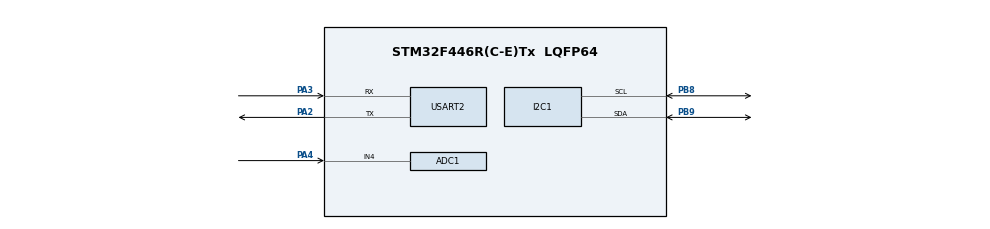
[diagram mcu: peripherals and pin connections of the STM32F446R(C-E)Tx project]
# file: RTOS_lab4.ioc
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ADC1.Channel-1\#ChannelRegularConversion=ADC_CHANNEL_4
ADC1.ContinuousConvMode=DISABLE
ADC1.EOCSelection=ADC_EOC_SEQ_CONV
ADC1.ExternalTrigConv=ADC_EXTERNALTRIGCONV_T2_TRGO
ADC1.InjNumberOfConversion=0
ADC1.NbrOfConversion=1
ADC1.NbrOfConversionFlag=1
ADC1.Rank-1\#ChannelRegularConversion=1
ADC1.SamplingTime-1\#ChannelRegularConversion=ADC_SAMPLETIME_3CYCLES
ADC1.master=1
FREERTOS.Tasks01=defaultTask,-3,400,StartDefaultTask,Default,NULL,Dynamic,NULL,NULL;monitorTask,0,512,StartMonitorTask,Default,NULL,Dynamic,NULL,NULL;read_i2c_sen1,0,400,StartRead_i2c_sen1,Default,NULL,Dynamic,NULL,NULL;read_i2c_sen2,0,400,startRead_i2c_sen2,Default,NULL,Dynamic,NULL,NULL
FREERTOS.configCHECK_FOR_STACK_OVERFLOW=2
FREERTOS.configENABLE_FPU=1
FREERTOS.configGENERATE_RUN_TIME_STATS=1
FREERTOS.configRECORD_STACK_HIGH_ADDRESS=1
FREERTOS.configUSE_NEWLIB_REENTRANT=1
FREERTOS.configUSE_STATS_FORMATTING_FUNCTIONS=1
FREERTOS.configUSE_TIMERS=0
FREERTOS.configUSE_TRACE_FACILITY=1
Mcu.Family=STM32F4
Mcu.Name=STM32F446R(C-E)Tx
Mcu.Package=LQFP64
NVIC.ADC_IRQn=true\:5\:0\:false\:false\:true\:true\:true\:true\:true
NVIC.PriorityGroup=NVIC_PRIORITYGROUP_4
NVIC.TIM1_UP_TIM10_IRQn=true\:5\:0\:false\:false\:true\:false\:false\:true\:true
NVIC.TIM2_IRQn=true\:5\:0\:false\:false\:true\:true\:true\:true\:true
NVIC.TimeBase=TIM1_UP_TIM10_IRQn
NVIC.TimeBaseIP=TIM10
PA13.Mode=Serial_Wire
PA13.Signal=SYS_JTMS-SWDIO
PA14.Mode=Serial_Wire
PA14.Signal=SYS_JTCK-SWCLK
PA2.Mode=Asynchronous
PA2.Signal=USART2_TX
PA3.Mode=Asynchronous
PA3.Signal=USART2_RX
PA4.Signal=ADCx_IN4
PB8.Mode=I2C
PB8.Signal=I2C1_SCL
PB9.Mode=I2C
PB9.Signal=I2C1_SDA
PC14-OSC32_IN.Mode=LSE-External-Oscillator
PC14-OSC32_IN.Signal=RCC_OSC32_IN
PC15-OSC32_OUT.Mode=LSE-External-Oscillator
PC15-OSC32_OUT.Signal=RCC_OSC32_OUT
PH0-OSC_IN.Mode=HSE-External-Oscillator
PH0-OSC_IN.Signal=RCC_OSC_IN
PH1-OSC_OUT.Mode=HSE-External-Oscillator
PH1-OSC_OUT.Signal=RCC_OSC_OUT
ProjectManager.HeapSize=0x200
ProjectManager.StackSize=0x400
ProjectManager.TargetToolchain=STM32CubeIDE
RCC.CortexFreq_Value=16000000
RCC.USBFreq_Value=96000000
RCC.VCOOutputFreq_Value=192000000
SH.ADCx_IN4.0=ADC1_IN4,IN4
TIM2.Channel-PWM\ Generation2\ No\ Output=TIM_CHANNEL_2
TIM2.Period=1000
TIM2.Prescaler=16-1
TIM2.TIM_MasterOutputTrigger=TIM_TRGO_UPDATE
USART2.VirtualMode=VM_ASYNC
VP_FREERTOS_VS_CMSIS_V1.Mode=CMSIS_V1
VP_SYS_VS_tim10.Mode=TIM10
VP_TIM2_VS_ClockSourceINT.Mode=Internal
VP_TIM2_VS_no_output2.Mode=PWM Generation2 No Output
board=custom

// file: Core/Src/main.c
/* USER CODE BEGIN Header */
/**
  ******************************************************************************
  * @file           : main.c
  * @brief          : Main program body
  ******************************************************************************
  * @attention
  *
  * Copyright (c) 2023 STMicroelectronics.
  * All rights reserved.
  *
  * This software is licensed under terms that can be found in the LICENSE file
  * in the root directory of this software component.
  * If no LICENSE file comes with this software, it is provided AS-IS.
  *
  ******************************************************************************
  */
/* USER CODE END Header */
#include "main.h"
#include "cmsis_os.h"
#include "adc.h"
#include "i2c.h"
#include "tim.h"
#include "usart.h"
#include "gpio.h"

void SystemClock_Config(void);
void MX_FREERTOS_Init(void);
/* USER CODE BEGIN PFP */

#ifdef __GNUC__
#define PUTCHAR_PROTOTYPE int __io_putchar(int ch)
#else
#define PUTCHAR_PROTOTYPE int fputc(int ch, FILE *f)
#endif

PUTCHAR_PROTOTYPE
{
  HAL_UART_Transmit(&huart2, (uint8_t *)&ch, 1, HAL_MAX_DELAY);
  return ch;
}

/* USER CODE END PFP */

int main(void)
{

  /* MCU Configuration--------------------------------------------------------*/

  /* Reset of all peripherals, Initializes the Flash interface and the Systick. */
  HAL_Init();

  /* Configure the system clock */
  SystemClock_Config();

  /* Initialize all configured peripherals */
  MX_GPIO_Init();
  MX_USART2_UART_Init();
  MX_ADC1_Init();
  MX_TIM2_Init();
  MX_I2C1_Init();

  /* Call init function for freertos objects (in freertos.c) */
  MX_FREERTOS_Init();

  /* Start scheduler */
  osKernelStart();
  /* We should never get here as control is now taken by the scheduler */
  /* Infinite loop */
  while (1)
  {

  }
}

void SystemClock_Config(void)
{
  RCC_OscInitTypeDef RCC_OscInitStruct = {0};
  RCC_ClkInitTypeDef RCC_ClkInitStruct = {0};

  /** Configure the main internal regulator output voltage
  */
  __HAL_RCC_PWR_CLK_ENABLE();
  __HAL_PWR_VOLTAGESCALING_CONFIG(PWR_REGULATOR_VOLTAGE_SCALE3);

  /** Initializes the RCC Oscillators according to the specified parameters
  * in the RCC_OscInitTypeDef structure.
  */
  RCC_OscInitStruct.OscillatorType = RCC_OSCILLATORTYPE_HSI;
  RCC_OscInitStruct.HSIState = RCC_HSI_ON;
  RCC_OscInitStruct.HSICalibrationValue = RCC_HSICALIBRATION_DEFAULT;
  RCC_OscInitStruct.PLL.PLLState = RCC_PLL_NONE;
  if (HAL_RCC_OscConfig(&RCC_OscInitStruct) != HAL_OK)
  {
    Error_Handler();
  }

  /** Initializes the CPU, AHB and APB buses clocks
  */
  RCC_ClkInitStruct.ClockType = RCC_CLOCKTYPE_HCLK|RCC_CLOCKTYPE_SYSCLK
                              |RCC_CLOCKTYPE_PCLK1|RCC_CLOCKTYPE_PCLK2;
  RCC_ClkInitStruct.SYSCLKSource = RCC_SYSCLKSOURCE_HSI;
  RCC_ClkInitStruct.AHBCLKDivider = RCC_SYSCLK_DIV1;
  RCC_ClkInitStruct.APB1CLKDivider = RCC_HCLK_DIV1;
  RCC_ClkInitStruct.APB2CLKDivider = RCC_HCLK_DIV1;

  if (HAL_RCC_ClockConfig(&RCC_ClkInitStruct, FLASH_LATENCY_0) != HAL_OK)
  {
    Error_Handler();
  }
}

void HAL_TIM_PeriodElapsedCallback(TIM_HandleTypeDef *htim)
{
  if (htim->Instance == TIM10) {
    HAL_IncTick();
  }
}

void Error_Handler(void)
{
  __disable_irq();
  while (1)
  {
  }
}

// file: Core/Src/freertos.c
/* USER CODE BEGIN Header */
/**
  ******************************************************************************
  * File Name          : freertos.c
  * Description        : Code for freertos applications
  ******************************************************************************
  * @attention
  *
  * Copyright (c) 2023 STMicroelectronics.
  * All rights reserved.
  *
  * This software is licensed under terms that can be found in the LICENSE file
  * in the root directory of this software component.
  * If no LICENSE file comes with this software, it is provided AS-IS.
  *
  ******************************************************************************
  */
/* USER CODE END Header */

#include "FreeRTOS.h"
#include "task.h"
#include "main.h"
#include "cmsis_os.h"

/* USER CODE BEGIN Includes */
#include <stdlib.h>
#include <stdio.h>
#include <math.h>
#include "string.h"
/* USER CODE END Includes */

/* USER CODE BEGIN PM */
//#define ADC_TIMER_MILISEC 1000
//uint32_t ADC_THRESHOLD_VALUE=755;
uint32_t ADC_THRESHOLD_VALUE=625;
/* USER CODE END PM */

/* USER CODE BEGIN Variables */

extern ADC_HandleTypeDef hadc1;
extern TIM_HandleTypeDef htim2;
extern I2C_HandleTypeDef hi2c1;

//ADC
uint32_t ADC_raw;

// messages
uint8_t new_message=0;
char ADC_messsage_recieved[ADC_MESSAGE_BYTE_LENGTH]="";
StreamBufferHandle_t ADC_messsage_buffer_handle;
size_t xTriggerLevelBytes=1;

// I2C
HAL_StatusTypeDef i2c_ret;
uint8_t i2c_buff[16];

//TMP117 sensor variables
//uint32_t sen1_val=0;
static const float temp_bin_to_float=0.0078125; //[C]
static const uint8_t TMP117_addr=0x48<<1;
static const uint8_t REG_TEMP=0x00;
int16_t tmp117_val;
float tmp117_temp_c=0;

// VL53L0X sensor variables
uint32_t sen2_val=0;

/* USER CODE END Variables */
osThreadId defaultTaskHandle;
osThreadId monitorTaskHandle;
osThreadId read_i2c_sen1Handle;
osThreadId read_i2c_sen2Handle;

void StartDefaultTask(void const * argument);
void StartMonitorTask(void const * argument);
void StartRead_i2c_sen1(void const * argument);
void startRead_i2c_sen2(void const * argument);

void MX_FREERTOS_Init(void); /* (MISRA C 2004 rule 8.1) */

/* GetIdleTaskMemory prototype (linked to static allocation support) */
void vApplicationGetIdleTaskMemory( StaticTask_t **ppxIdleTaskTCBBuffer, StackType_t **ppxIdleTaskStackBuffer, uint32_t *pulIdleTaskStackSize );

/* Hook prototypes */
void configureTimerForRunTimeStats(void);
unsigned long getRunTimeCounterValue(void);
void vApplicationStackOverflowHook(xTaskHandle xTask, signed char *pcTaskName);

/* USER CODE BEGIN 1 */
/* Functions needed when configGENERATE_RUN_TIME_STATS is on */
__weak void configureTimerForRunTimeStats(void)
{

}

__weak unsigned long getRunTimeCounterValue(void)
{
return 0;
}
/* USER CODE END 1 */

/* USER CODE BEGIN 4 */
__weak void vApplicationStackOverflowHook(xTaskHandle xTask, signed char *pcTaskName)
{
   /* Run time stack overflow checking is performed if
   configCHECK_FOR_STACK_OVERFLOW is defined to 1 or 2. This hook function is
   called if a stack overflow is detected. */
}
/* USER CODE END 4 */

/* USER CODE BEGIN GET_IDLE_TASK_MEMORY */
static StaticTask_t xIdleTaskTCBBuffer;
static StackType_t xIdleStack[configMINIMAL_STACK_SIZE];

void vApplicationGetIdleTaskMemory( StaticTask_t **ppxIdleTaskTCBBuffer, StackType_t **ppxIdleTaskStackBuffer, uint32_t *pulIdleTaskStackSize )
{
  *ppxIdleTaskTCBBuffer = &xIdleTaskTCBBuffer;
  *ppxIdleTaskStackBuffer = &xIdleStack[0];
  *pulIdleTaskStackSize = configMINIMAL_STACK_SIZE;
  /* place for user code */
}
/* USER CODE END GET_IDLE_TASK_MEMORY */

void MX_FREERTOS_Init(void) {

  /* Create the thread(s) */
  /* definition and creation of defaultTask */
  osThreadDef(defaultTask, StartDefaultTask, osPriorityIdle, 0, 400);
  defaultTaskHandle = osThreadCreate(osThread(defaultTask), NULL);

  /* definition and creation of monitorTask */
  osThreadDef(monitorTask, StartMonitorTask, osPriorityNormal, 0, 512);
  monitorTaskHandle = osThreadCreate(osThread(monitorTask), NULL);

  /* definition and creation of read_i2c_sen1 */
  osThreadDef(read_i2c_sen1, StartRead_i2c_sen1, osPriorityNormal, 0, 400);
  read_i2c_sen1Handle = osThreadCreate(osThread(read_i2c_sen1), NULL);

  /* definition and creation of read_i2c_sen2 */
  osThreadDef(read_i2c_sen2, startRead_i2c_sen2, osPriorityNormal, 0, 400);
  read_i2c_sen2Handle = osThreadCreate(osThread(read_i2c_sen2), NULL);

  /* USER CODE BEGIN RTOS_THREADS */
  /* add threads, ... */

  //create stream buffer
  ADC_messsage_buffer_handle=xStreamBufferCreate(ADC_MESSAGE_BYTE_LENGTH,xTriggerLevelBytes);

  //start hardware timer
  HAL_TIM_Base_Start(&htim2);
  //start ADC interrupt
  HAL_ADC_Start_IT(&hadc1);
  /* USER CODE END RTOS_THREADS */

}

void StartDefaultTask(void const * argument)
{
  /* USER CODE BEGIN StartDefaultTask */
  /* Infinite loop */
  for(;;)
  {
	printf("Program alive\r\n");
    osDelay(20000);
  }
  /* USER CODE END StartDefaultTask */
}

void StartMonitorTask(void const * argument)
{
  /* USER CODE BEGIN StartMonitorTask */
  /* Infinite loop */
  for(;;)
  {
	  //printf("Monitor Task\r\n");
	  //xStreamBufferReceive(xStreamBuffer, pvRxData, xBufferLengthBytes, xTicksToWait);
	  xStreamBufferReceive(ADC_messsage_buffer_handle, ADC_messsage_recieved, ADC_MESSAGE_BYTE_LENGTH, 100);
	  //if(!strcmp(ADC_messsage_recieved,""))
	  if(new_message)
	  {
		  printf("MESS received from streamBuffer: %s\r\n",ADC_messsage_recieved);
		  new_message=0;
		  //strcpy(ADC_messsage_recieved,"");
	  }
	  osDelay(1000);
  }
  /* USER CODE END StartMonitorTask */
}

void StartRead_i2c_sen1(void const * argument)
{
  /* USER CODE BEGIN StartRead_i2c_sen1 */
	// sensor TMP117
  /* Infinite loop */
  for(;;)
  {
	//I2C COMUNICATION
	i2c_buff[0]=REG_TEMP;
	i2c_ret=HAL_I2C_Master_Transmit(&hi2c1, TMP117_addr, i2c_buff, 1, HAL_MAX_DELAY);
	if(i2c_ret!=HAL_OK)
	{
		printf("i2c TX error\r\n");
	}
	else
	{
		//printf("i2c TX status HAL_OK\r\n");
		i2c_ret=HAL_I2C_Master_Receive(&hi2c1, TMP117_addr, i2c_buff, 2,HAL_MAX_DELAY);
		if(i2c_ret!=HAL_OK)
		{
			printf("i2c Rx error\r\n");
		}
		else
		{
			//printf("i2c RX status HAL_OK\r\n");
			// connect 2 bytes into one int16
			tmp117_val=((int16_t)i2c_buff[0]<<8 )|((i2c_buff[1]));

			//Convert binary value to float temp. in Celcius degrees
			tmp117_temp_c=tmp117_val*temp_bin_to_float;
			printf("TMP117 temp= %f C\r\n",tmp117_temp_c);
		}
	}

    osDelay(1000);
  }
  /* USER CODE END StartRead_i2c_sen1 */
}

void startRead_i2c_sen2(void const * argument)
{
  /* USER CODE BEGIN startRead_i2c_sen2 */
	// sensor VL53L0X
  /* Infinite loop */
  for(;;)
  {
    osDelay(1000);
  }
  /* USER CODE END startRead_i2c_sen2 */
}
